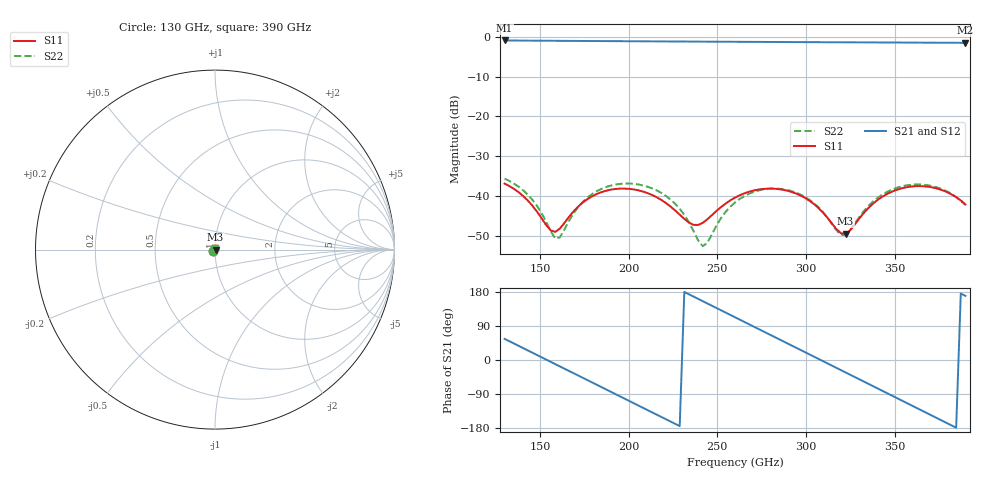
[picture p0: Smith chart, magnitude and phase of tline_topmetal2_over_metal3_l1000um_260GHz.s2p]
#  GHZ S DB R 50
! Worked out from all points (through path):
!   101 points, 130 GHz to 390 GHz, reference 50 ohm
!   highest |S21| = -0.88 dB at 130 GHz (marker M1); lowest = -1.5 dB at 390 GHz (marker M2)
!   group delay of S21, straight-line fit = 6.48 ps
!   lowest |S11| = -49.5 dB at 322.4 GHz (marker M3), VSWR 1.01, Z = 50.3 - j0.0437 ohm
!   |S11| at or under -10 dB: start of sweep to end of sweep
!   |S22| runs from -52.6 to -35.6 dB; largest |S21 - S12| = 1e-13
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130  -36.89 -147.8  -0.88 55.7  -0.88 55.7  -35.64 -144.1
145.6  -42.40 155.3  -0.93 19.4  -0.93 19.4  -40.92 165.0
158.6  -49.03 51.8  -0.97 -10.9  -0.97 -10.9  -50.69 70.1
174.2  -41.62 -53.1  -1.01 -47.2  -1.01 -47.2  -41.43 -54.8
184.6  -39.04 -90.6  -1.04 -71.4  -1.04 -71.4  -38.22 -89.9
195  -38.15 -124.6  -1.06 -95.7  -1.06 -95.7  -36.96 -121.4
205.4  -38.58 -158.6  -1.09 -119.9  -1.09 -119.9  -37.10 -152.1
218.4  -40.99 154.8  -1.12 -150.2  -1.12 -150.2  -39.22 168.3
228.8  -44.69 105.5  -1.15 -174.4  -1.15 -174.4  -43.22 131.9
236.6  -47.26 48.4  -1.16 167.4  -1.16 167.4  -48.82 90.0
241.8  -46.76 4.1  -1.18 155.3  -1.18 155.3  -52.63 30.4
260  -40.42 -91.8  -1.22 112.8  -1.22 112.8  -41.63 -98.8
270.4  -38.64 -128.4  -1.24 88.5  -1.24 88.5  -39.01 -132.6
280.8  -38.15 -162.3  -1.26 64.3  -1.26 64.3  -38.14 -164.2
293.8  -39.27 155.4  -1.29 33.9  -1.29 33.9  -39.06 156.0
304.2  -41.91 118.2  -1.31 9.7  -1.31 9.7  -41.70 120.5
322.4  -49.52 -7.5  -1.35 -32.8  -1.35 -32.8  -49.79 -8.3
335.4  -42.96 -98.7  -1.37 -63.2  -1.37 -63.2  -42.45 -97.7
348.4  -38.95 -146.4  -1.40 -93.6  -1.40 -93.6  -38.43 -143.2
358.8  -37.66 -179.1  -1.42 -117.9  -1.42 -117.9  -37.21 -174.8
371.8  -37.88 141.3  -1.44 -148.3  -1.44 -148.3  -37.57 146.4
390  -42.12 79.5  -1.48 169.2  -1.48 169.2  -42.25 84.3
